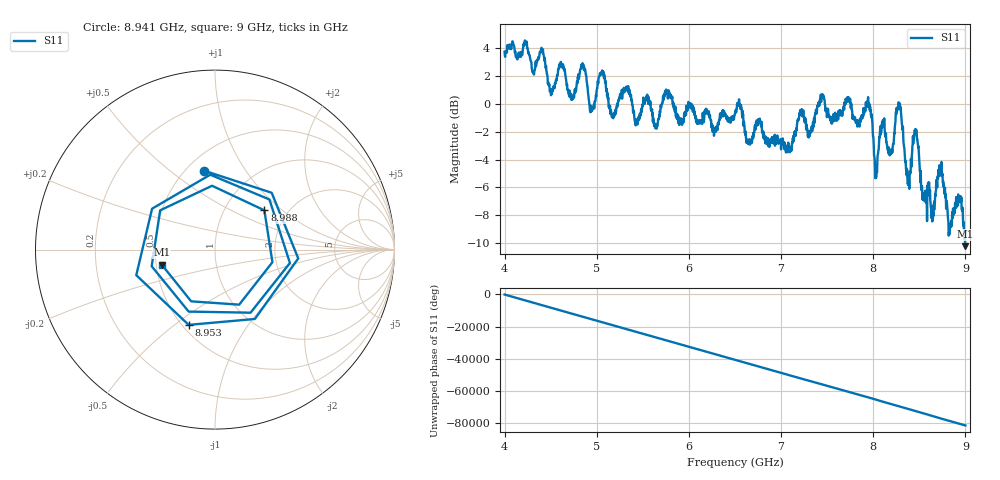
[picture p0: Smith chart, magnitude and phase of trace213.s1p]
! Created with skrf 1.8.0 (http://scikit-rf.org).
# Hz S RI R 50.0
!freq ReS11 ImS11
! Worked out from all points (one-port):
!   1601 points, 4 GHz to 9 GHz, reference 50 ohm
!   lowest |S11| = -10.2 dB at 9 GHz (marker M1), VSWR 1.89, Z = 26.8 - j4.98 ohm
!   |S11| at or under -10 dB: 8.997347 GHz to end of sweep
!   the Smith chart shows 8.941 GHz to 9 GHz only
!   S11 on the Smith chart (normalised r, x): 8.941 GHz: 0.61, +0.67; 8.953 GHz: 0.54, -0.56; 8.988 GHz: 1.53, +0.76; 9 GHz: 0.54, -0.10
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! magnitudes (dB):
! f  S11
! 4 GHz  3.7
! 4.403 GHz  3.9
! 4.512 GHz  0.8
! 4.625 GHz  2.8
! 4.731 GHz  0.3
! 4.856 GHz  2.8
! 4.947 GHz  -0.4
! 5.05 GHz  2.1
! 5.162 GHz  -0.9
! 5.25 GHz  0.4
! 5.875 GHz  -1.1
! 6.5 GHz  -0.7
! 7.125 GHz  -2.8
! 7.447 GHz  0.7
! 7.75 GHz  0.4
! 7.956 GHz  -0.2
! 8.034 GHz  -4.9
! 8.278 GHz  0.0
! 8.375 GHz  -5.8
! 8.456 GHz  -1.8
! 8.559 GHz  -7.0
! 8.65 GHz  -7.8
! 8.725 GHz  -4.9
! 8.828 GHz  -9.4
! 8.941 GHz  -7.0
! 8.953 GHz  -7.0
! 8.988 GHz  -9.1
! 9 GHz  -10.2
